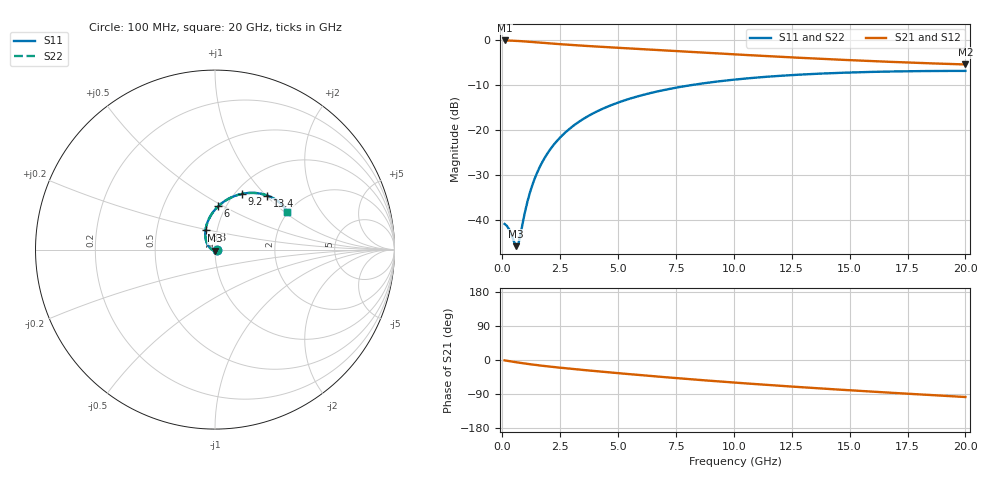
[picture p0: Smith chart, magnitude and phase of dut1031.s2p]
! Touchstone file exported from HFSS 2024.1.0
!  File:  C:/UserFiles/LocalFiles/RDL_TSV_Batchsim/temp_RDL_TSV_1031_1780083895.aedt
!  Generated:  03:56:26 AM May 30, 2026
!  Design:  RDL_TSV
!  Project:  temp_RDL_TSV_1031_1780083895
!  Setup:  Setup1
!  Solution:  Sweep
! Variables:
!  dtsv = 12.73um
!  hbump = 3um
!  htsv = 50.27um
!  ldown = 108.85um
!  lrdl = 221.19um
!  p = 40
!  p1 = 58.5um
!  rhole = 10um
!  subl = 1211.31um
!  t = 450um
!  tdown = 3.73um
!  trdl = 2.62um
!  viad = 10um
!  wdown = 17.37um
!  wrdl = 17.75um
!  xbump = 18um
# GHz S MA R 50.000000
! Terminal data exported
! Port[1] = TM1_1_T1
! Port[2] = TM1_4_T1
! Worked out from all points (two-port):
!   200 points, 100 MHz to 20 GHz, reference 50 ohm
!   highest |S21| = -0.08 dB at 100 MHz (marker M1); lowest = -5.4 dB at 20 GHz (marker M2)
!   |S21| within 3 dB of the highest: start of sweep to 9.702 GHz
!   lowest |S11| = -45.9 dB at 600 MHz (marker M3), VSWR 1.01, Z = 50.1 - j0.506 ohm
!   |S11| at or under -10 dB: start of sweep to 8.186 GHz
!   |S22| runs from -45.9 to -6.9 dB; largest |S21 - S12| = 1.7e-14
!   S11 on the Smith chart (normalised r, x): 100 MHz: 1.02, -0.00; 3.3 GHz: 0.88, +0.20; 6 GHz: 0.92, +0.47; 9.2 GHz: 1.07, +0.75; 13.4 GHz: 1.39, +1.02; 20 GHz: 1.99, +1.04
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0.1  0.009006 -7.1  0.9905 -1.0  0.9905 -1.0  0.009006 -7.1
! Gamma 0 0 0 0
! Port Impedance 50 0 50 0
0.2  0.008558 -15.0  0.9894 -2.0  0.9894 -2.0  0.008558 -15.0
0.3  0.007809 -24.7  0.9878 -3.0  0.9878 -3.0  0.00781 -24.7
0.6  0.005092 -83.0  0.98 -5.9  0.98 -5.9  0.005093 -83.0
0.7  0.005473 -115.7  0.9766 -6.9  0.9766 -6.9  0.005473 -115.6
1  0.0129 -172.0  0.9649 -9.5  0.9649 -9.5  0.01289 -172.0
1.2  0.02035 172.5  0.9563 -11.2  0.9563 -11.2  0.02034 172.5
1.4  0.02879 162.0  0.9473 -12.8  0.9473 -12.8  0.02878 162.0
1.6  0.03789 153.9  0.9383 -14.3  0.9383 -14.3  0.03788 153.9
1.9  0.05234 144.2  0.925 -16.4  0.925 -16.4  0.05233 144.2
2.3  0.0724 133.9  0.9082 -19.0  0.9082 -19.0  0.07238 134.0
2.8  0.09778 123.7  0.8891 -22.2  0.8891 -22.2  0.09775 123.7
3.3  0.1228 115.4  0.8717 -25.1  0.8717 -25.1  0.1228 115.4
3.5  0.1326 112.4  0.8652 -26.3  0.8652 -26.3  0.1326 112.4
4.6  0.1841 98.8  0.832 -32.5  0.832 -32.5  0.1841 98.8
6  0.2424 85.7  0.7935 -40.0  0.7935 -40.0  0.2424 85.7
6.8  0.2718 79.5  0.7725 -44.2  0.7725 -44.2  0.2718 79.5
9.2  0.3437 64.4  0.7129 -55.8  0.7129 -55.8  0.3437 64.4
10.1  0.3648 59.8  0.6921 -59.9  0.6921 -59.9  0.3648 59.8
13.4  0.4196 45.9  0.6251 -73.7  0.6251 -73.7  0.4195 45.8
16.7  0.4466 35.4  0.5734 -86.1  0.5734 -86.1  0.4465 35.4
20  0.454 27.3  0.5355 -97.7  0.5355 -97.7  0.4539 27.3
